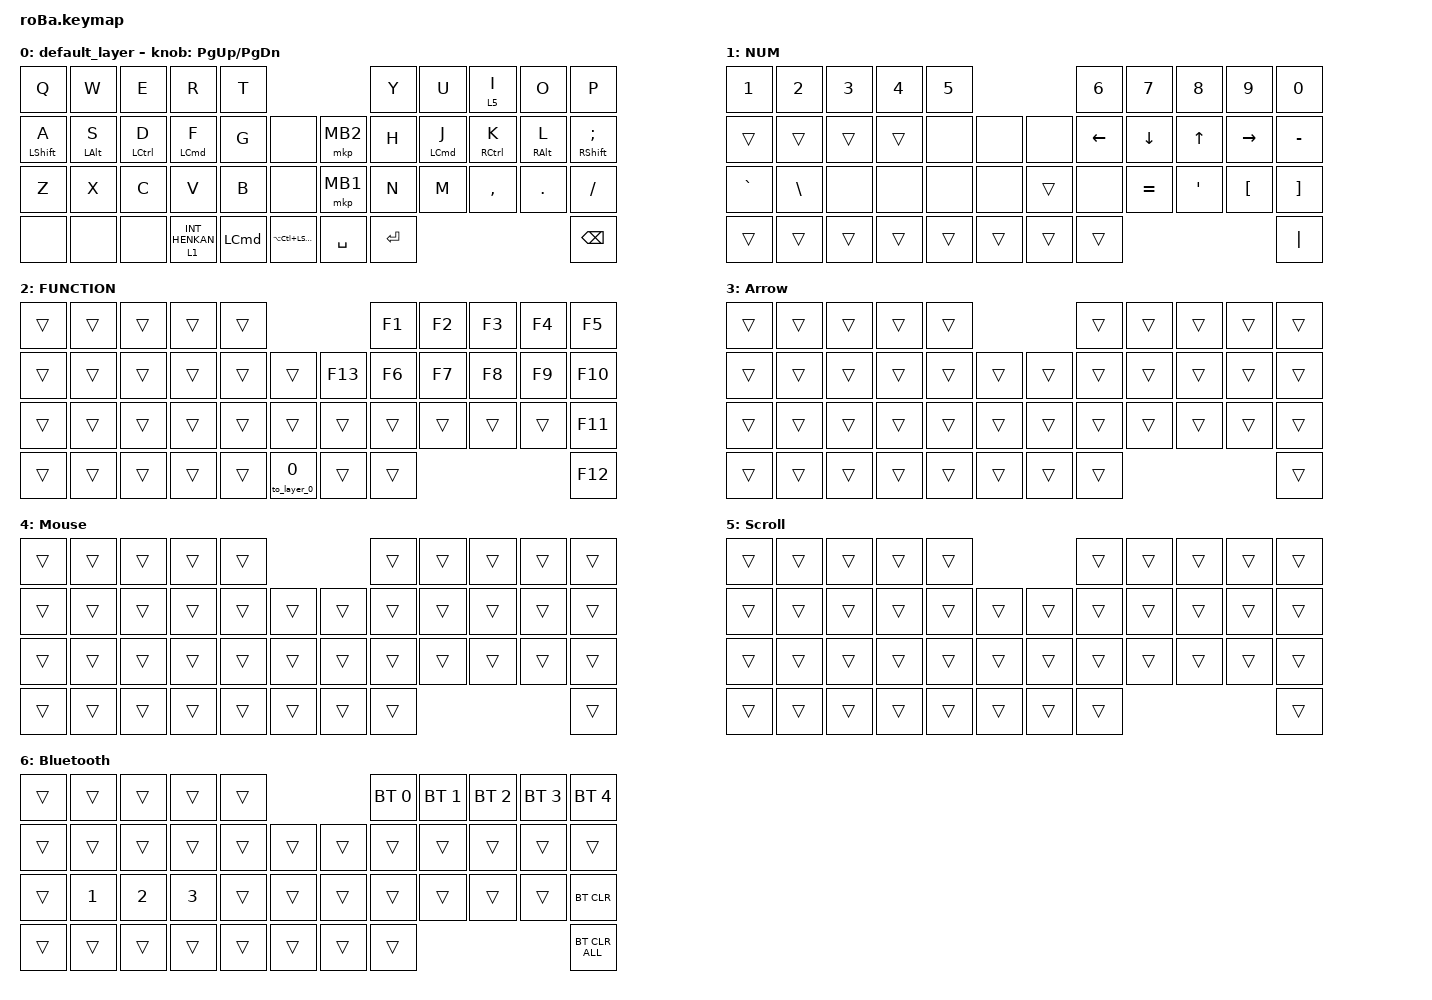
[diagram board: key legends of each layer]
#include <behaviors.dtsi>
#include <dt-bindings/zmk/bt.h>
#include <dt-bindings/zmk/keys.h>
#include <dt-bindings/zmk/pointing.h>

#define MOUSE 4
#define SCROLL 5
#define NUM 6

&mt {
    flavor = "balanced";
    quick-tap-ms = <0>;
};

/ {
    combos {
        compatible = "zmk,combos";

        tab {
            bindings = <&kp TAB>;
            key-positions = <0 1>;
        };

        escape {
            bindings = <&kp ESCAPE>;
            key-positions = <18 19>;
        };
    };

    macros {
        to_layer_0: to_layer_0 {
            compatible = "zmk,behavior-macro-one-param";
            #binding-cells = <1>;
            bindings = <&to 0 &macro_param_1to1 &kp MACRO_PLACEHOLDER>;
            label = "TO_LAYER_0";
        };
    };

    behaviors {
        lt_to_layer_0: lt_to_layer_0 {
            compatible = "zmk,behavior-hold-tap";
            label = "LAYER_TAP_TO_0";
            bindings = <&mo>, <&to_layer_0>;

            #binding-cells = <2>;
            tapping-term-ms = <200>;
        };
    };

    keymap {
        compatible = "zmk,keymap";

        default_layer {
            bindings = <
&kp Q             &kp W           &kp E        &kp R                        &kp T                                                    &kp Y      &kp U               &lt 5 I      &kp O            &kp P
&mt LEFT_SHIFT A  &mt LEFT_ALT S  &mt LCTRL D  &mt LEFT_COMMAND F           &kp G             &none                       &mkp MB2   &kp H      &mt LEFT_COMMAND J  &mt RCTRL K  &mt RIGHT_ALT L  &mt RIGHT_SHIFT SEMICOLON
&kp Z             &kp X           &kp C        &kp V                        &kp B             &none                       &mkp MB1   &kp N      &kp M               &kp COMMA    &kp DOT          &kp SLASH
&none             &none           &none        &lt_to_layer_0 1 INT_HENKAN  &kp LEFT_COMMAND  &kp LA(LC(LEFT_SHIFT))      &kp SPACE  &kp ENTER                                                    &kp BACKSPACE
            >;

            sensor-bindings = <&inc_dec_kp PG_UP PAGE_DOWN>;
        };

        NUM {
            bindings = <
&kp NUMBER_1  &kp NUMBER_2   &kp NUMBER_3  &kp NUMBER_4  &kp N5                      &kp NUMBER_6  &kp NUMBER_7  &kp NUMBER_8  &kp N9            &kp N0
&trans        &trans         &trans        &trans        &none   &none       &none   &kp LEFT      &kp DOWN      &kp UP_ARROW  &kp RIGHT         &kp MINUS
&kp GRAVE     &kp BACKSLASH  &none         &none         &none   &none       &trans  &none         &kp EQUAL     &kp SQT       &kp LEFT_BRACKET  &kp RIGHT_BRACKET
&trans        &trans         &trans        &trans        &trans  &trans      &trans  &trans                                                      &kp PIPE
            >;
        };

        FUNCTION {
            bindings = <
&trans  &trans  &trans  &trans  &trans                               &kp F1  &kp F2  &kp F3  &kp F4  &kp F5
&trans  &trans  &trans  &trans  &trans  &trans              &kp F13  &kp F6  &kp F7  &kp F8  &kp F9  &kp F10
&trans  &trans  &trans  &trans  &trans  &trans              &trans   &trans  &trans  &trans  &trans  &kp F11
&trans  &trans  &trans  &trans  &trans  &to_layer_0 N0      &trans   &trans                          &kp F12
            >;
        };

        Arrow {
            bindings = <
&trans  &trans  &trans  &trans  &trans                      &trans  &trans  &trans  &trans  &trans
&trans  &trans  &trans  &trans  &trans  &trans      &trans  &trans  &trans  &trans  &trans  &trans
&trans  &trans  &trans  &trans  &trans  &trans      &trans  &trans  &trans  &trans  &trans  &trans
&trans  &trans  &trans  &trans  &trans  &trans      &trans  &trans                          &trans
            >;
        };

        Mouse {
            bindings = <
&trans  &trans  &trans  &trans  &trans                      &trans  &trans  &trans  &trans  &trans
&trans  &trans  &trans  &trans  &trans  &trans      &trans  &trans  &trans  &trans  &trans  &trans
&trans  &trans  &trans  &trans  &trans  &trans      &trans  &trans  &trans  &trans  &trans  &trans
&trans  &trans  &trans  &trans  &trans  &trans      &trans  &trans                          &trans
            >;
        };

        Scroll {
            bindings = <
&trans  &trans  &trans  &trans  &trans                      &trans  &trans  &trans  &trans  &trans
&trans  &trans  &trans  &trans  &trans  &trans      &trans  &trans  &trans  &trans  &trans  &trans
&trans  &trans  &trans  &trans  &trans  &trans      &trans  &trans  &trans  &trans  &trans  &trans
&trans  &trans  &trans  &trans  &trans  &trans      &trans  &trans                          &trans
            >;
        };

        Bluetooth {
            bindings = <
&trans  &trans        &trans        &trans        &trans                      &bt BT_SEL 0  &bt BT_SEL 1  &bt BT_SEL 2  &bt BT_SEL 3  &bt BT_SEL 4
&trans  &trans        &trans        &trans        &trans  &trans      &trans  &trans        &trans        &trans        &trans        &trans
&trans  &kp NUMBER_1  &kp NUMBER_2  &kp NUMBER_3  &trans  &trans      &trans  &trans        &trans        &trans        &trans        &bt BT_CLR
&trans  &trans        &trans        &trans        &trans  &trans      &trans  &trans                                                  &bt BT_CLR_ALL
            >;
        };
    };
};
